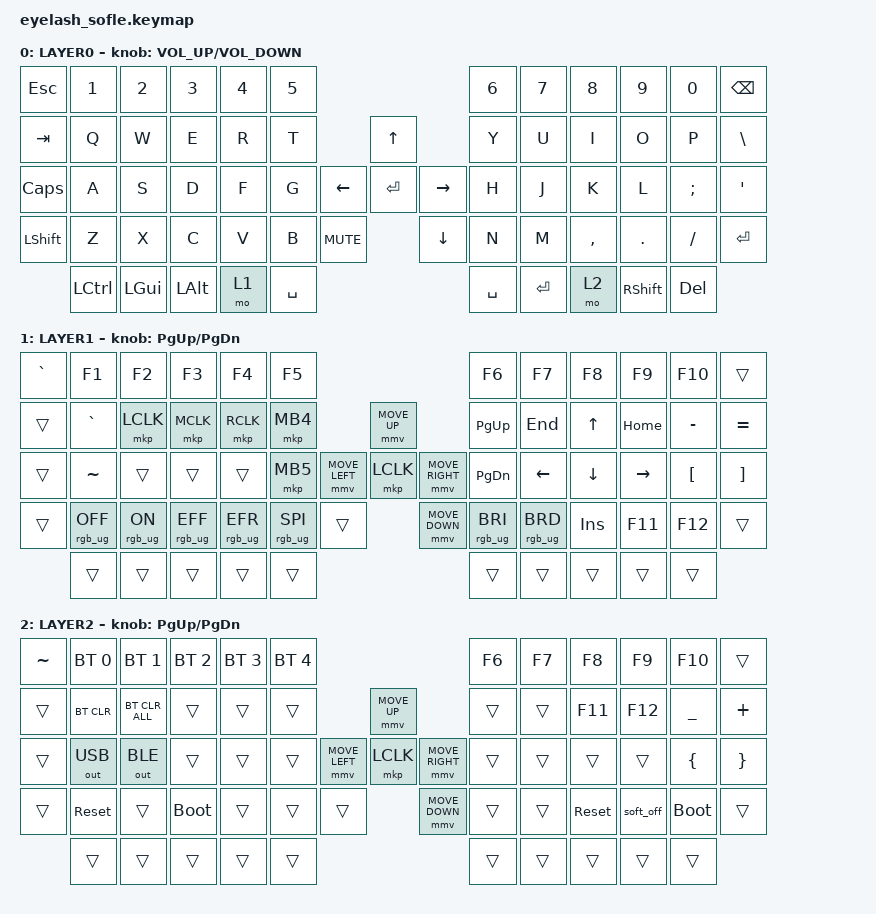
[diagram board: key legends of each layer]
#include <behaviors.dtsi>
#include <dt-bindings/zmk/bt.h>
#include <dt-bindings/zmk/keys.h>
#include <dt-bindings/zmk/mouse.h>
#include <dt-bindings/zmk/outputs.h>
#include <dt-bindings/zmk/rgb.h>

#include <input/processors.dtsi>

/*

   &mmv_input_listener {
       input-processors = <&zip_xy_scaler 2 1>;
   };

   &msc_input_listener {
       input-processors = <&zip_xy_scaler 2 1>;
   };

 */

#define ZMK_MOUSE_DEFAULT_MOVE_VAL 1200  // 600
#define ZMK_MOUSE_DEFAULT_SCRL_VAL 20    // 10

&led_strip {
    chain-length = <29>; /* Edit this if the number of LEDs is wrong. */
};

/ {
    chosen {
		zmk,physical-layout = &sofle_layout;
    };

    behaviors {
        td0: td0 {
            compatible = "zmk,behavior-tap-dance";
            display-name = "Shift/Caps Lock Tap Dance";
            #binding-cells = <0>;
            bindings = <&kp LEFT_SHIFT>, <&kp CAPS>;
        };
    };

    rgb_encoder: rgb_encoder {
        compatible = "zmk,behavior-sensor-rotate";
        #sensor-binding-cells = <0>;
        bindings = <&rgb_ug RGB_BRI>, <&rgb_ug RGB_BRD>;
    };

    keymap {
        compatible = "zmk,keymap";

        default_layer {
            display-name = "LAYER0";

            bindings = <
&kp ESC     &kp N1     &kp N2        &kp N3        &kp N4  &kp N5                                                   &kp N6     &kp N7     &kp N8     &kp N9           &kp N0      &kp BACKSPACE
&kp TAB     &kp Q      &kp W         &kp E         &kp R   &kp T                              &kp UP                &kp Y      &kp U      &kp I      &kp O            &kp P       &kp BSLH
&kp CAPS    &kp A      &kp S         &kp D         &kp F   &kp G                    &kp LEFT  &kp ENTER  &kp RIGHT  &kp H      &kp J      &kp K      &kp L            &kp SEMI    &kp APOS
&kp LSHFT   &kp Z      &kp X         &kp C         &kp V   &kp B      &kp C_MUTE              &kp DOWN              &kp N      &kp M      &kp COMMA  &kp DOT          &kp FSLH    &kp ENTER
            &kp LCTRL  &kp LEFT_GUI  &kp LEFT_ALT  &mo 1   &kp SPACE                                                &kp SPACE  &kp ENTER  &mo 2      &kp RIGHT_SHIFT  &kp DELETE
            >;

            sensor-bindings = <&inc_dec_kp C_VOLUME_UP C_VOLUME_DOWN>;
        };

        layer_1 {
            display-name = "LAYER1";
            bindings = <
&kp GRAVE   &kp F1           &kp F2          &kp F3           &kp F4           &kp F5                                                                      &kp F6           &kp F7           &kp F8      &kp F9     &kp F10           &trans
&trans      &kp GRAVE        &mkp LCLK       &mkp MCLK        &mkp RCLK        &mkp MB4                                   &mmv MOVE_UP                     &kp PG_UP        &kp END          &kp UP      &kp HOME   &kp MINUS         &kp EQUAL
&trans      &kp TILDE        &trans          &trans           &trans           &mkp MB5                   &mmv MOVE_LEFT  &mkp LCLK       &mmv MOVE_RIGHT  &kp PG_DN        &kp LEFT         &kp DOWN    &kp RIGHT  &kp LEFT_BRACKET  &kp RIGHT_BRACKET
&trans      &rgb_ug RGB_OFF  &rgb_ug RGB_ON  &rgb_ug RGB_EFF  &rgb_ug RGB_EFR  &rgb_ug RGB_SPI  &trans                    &mmv MOVE_DOWN                   &rgb_ug RGB_BRI  &rgb_ug RGB_BRD  &kp INSERT  &kp F11    &kp F12           &trans
            &trans           &trans          &trans           &trans           &trans                                                                      &trans           &trans           &trans      &trans     &trans
            >;

            sensor-bindings = <&inc_dec_kp PG_UP PG_DN>;
        };

        layer_2 {
            display-name = "LAYER2";
            bindings = <
&kp TILDE  &bt BT_SEL 0  &bt BT_SEL 1    &bt BT_SEL 2  &bt BT_SEL 3  &bt BT_SEL 4                                                               &kp F6  &kp F7  &kp F8      &kp F9     &kp F10      &trans
&trans     &bt BT_CLR    &bt BT_CLR_ALL  &trans        &trans        &trans                                    &mmv MOVE_UP                     &trans  &trans  &kp F11     &kp F12    &kp UNDER    &kp PLUS
&trans     &out OUT_USB  &out OUT_BLE    &trans        &trans        &trans                    &mmv MOVE_LEFT  &mkp LCLK       &mmv MOVE_RIGHT  &trans  &trans  &trans      &trans     &kp LBRC     &kp RBRC
&trans     &sys_reset    &trans          &bootloader   &trans        &trans          &trans                    &mmv MOVE_DOWN                   &trans  &trans  &sys_reset  &soft_off  &bootloader  &trans
           &trans        &trans          &trans        &trans        &trans                                                                     &trans  &trans  &trans      &trans     &trans
            >;

            sensor-bindings = <&inc_dec_kp PG_UP PG_DN>;
        };
    };
};
